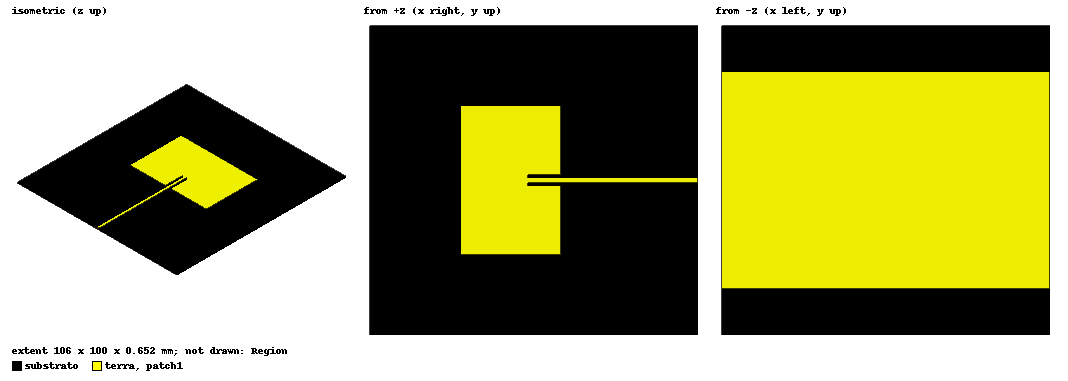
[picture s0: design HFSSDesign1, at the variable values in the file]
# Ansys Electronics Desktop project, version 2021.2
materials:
  vacuum: permittivity=1
  FR4_epoxy: permittivity=4.4 dielectric_loss_tangent=0.02
  copper: permeability=0.999991 conductivity=58000000
  Arlon 25N (tm): permittivity=3.38 dielectric_loss_tangent=0.0025
  air: permittivity=1.0006 permeability=1.0000004

design HFSSDesign1 (HFSS, DrivenModal, model units mm)
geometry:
  substrato [Arlon 25N (tm)] = box(corner=(-45mm, -50mm, 0mm), size=(106mm, 100mm, 0.635mm))
  terra [copper] = box(corner=(-45mm, -35mm, 0mm), size=(106mm, 70mm, 0.017mm))
  patch1 [copper] = box(corner=((-31.5/2) mm, (-48/2) mm, 0.635mm), size=(32.5mm, 48mm, 0.017mm))
  trilha1 = box(corner=(6mm, (-3.47/2) mm, 0.635mm), size=(100mm, 3.47mm, 0.635mm))
  patch1.subtract(trilha1)
  Region [air] = region(absolute_offset=70mm on all sides)
  trilha = box(corner=((45+16) mm, (-1.47/2) mm, 0.635mm), size=((-45-10) mm, 1.47mm, 0.017mm))
  Rectangle1 = rectangle(corner=((45+16) mm, (-1.47/2) mm, 0mm), y_size=1.47mm, z_size=0.652mm)
  patch1.unite(trilha)
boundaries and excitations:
  Rad1: Radiation Objects=Region
  1: Lumped Port Objects=Rectangle1 Modes{Mode1{IntLine{middle of Rectangle1.edge(z opposite corner) -> middle of Rectangle1.edge(z at corner)} CharImp=Zpi}} Impedance=50ohm
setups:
  Setup1: HfssDriven Frequency=2.4GHz MaxDeltaS=0.02 MaximumPasses=6 MinimumPasses=1 MinimumConvergedPasses=1 PercentRefinement=30 BasisOrder=1 PortAccuracy=2
    sweep Sweep: 1.2GHz to 3.6GHz, 401 points; Type=Interpolating InterpTolerance=0.5 InterpMaxSolns=250 InterpUsePortImped=false PassivityErrorTolerance=0.0001
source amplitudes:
  1:1: 1W 0deg
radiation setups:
  Infinite Sphere1: Infinite Sphere Theta=0deg..180deg step 2deg Phi=-180deg..180deg step 2deg
  Infinite Sphere2: Infinite Sphere Theta=0deg..180deg step 2deg Phi=-180deg..180deg step 2deg
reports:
  S Parameter Plot 1: dB(S(1,1)) vs Freq on Setup1 : Sweep; markers m1 at 2.3839812GHz, m2 at 2.4039123GHz
